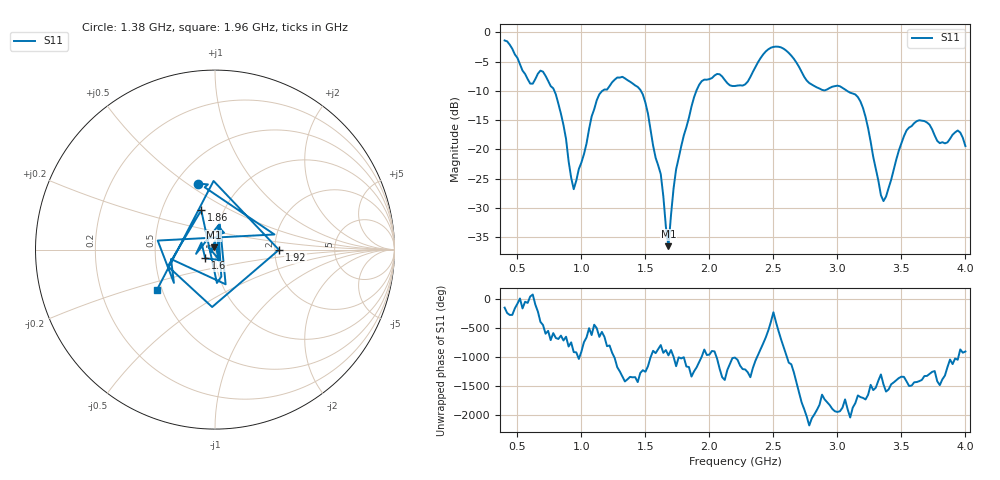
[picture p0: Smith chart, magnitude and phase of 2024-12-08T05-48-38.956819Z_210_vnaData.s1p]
!Created with skrf (http://scikit-rf.org).
# Hz S RI R 50.0
!freq ReS11 ImS11
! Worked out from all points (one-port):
!   181 points, 400 MHz to 4 GHz, reference 50 ohm
!   lowest |S11| = -36.5 dB at 1.68 GHz (marker M1), VSWR 1.03, Z = 49.4 + j1.34 ohm
!   |S11| at or under -10 dB: 788.4 MHz to 1.164 GHz (375.6 MHz wide, 38.5 % of centre); 1.465 GHz to 1.898 GHz (433.5 MHz wide, 25.8 % of centre); 3.075 GHz to end of sweep
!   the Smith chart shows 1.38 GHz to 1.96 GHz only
!   S11 on the Smith chart (normalised r, x): 1.38 GHz: 0.64, +0.55; 1.6 GHz: 0.89, -0.09; 1.86 GHz: 0.78, +0.36; 1.92 GHz: 2.11, -0.01; 1.96 GHz: 0.47, -0.25
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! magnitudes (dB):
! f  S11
! 400 MHz  -1.4
! 600 MHz  -8.8
! 700 MHz  -6.7
! 860 MHz  -15.8
! 940 MHz  -26.8
! 1.12 GHz  -11.6
! 1.3 GHz  -7.7
! 1.38 GHz  -8.4
! 1.48 GHz  -10.6
! 1.6 GHz  -22.7
! 1.68 GHz  -36.5
! 1.72 GHz  -26.7
! 1.76 GHz  -21.5
! 1.86 GHz  -12.7
! 1.92 GHz  -9.0
! 1.96 GHz  -8.1
! 2.2 GHz  -9.2
! 2.48 GHz  -2.6
! 2.66 GHz  -4.5
! 2.78 GHz  -8.7
! 3.1 GHz  -10.3
! 3.2 GHz  -12.9
! 3.36 GHz  -28.8
! 3.56 GHz  -16.3
! 3.68 GHz  -15.2
! 3.8 GHz  -18.9
! 3.94 GHz  -16.8
! 4 GHz  -19.4
